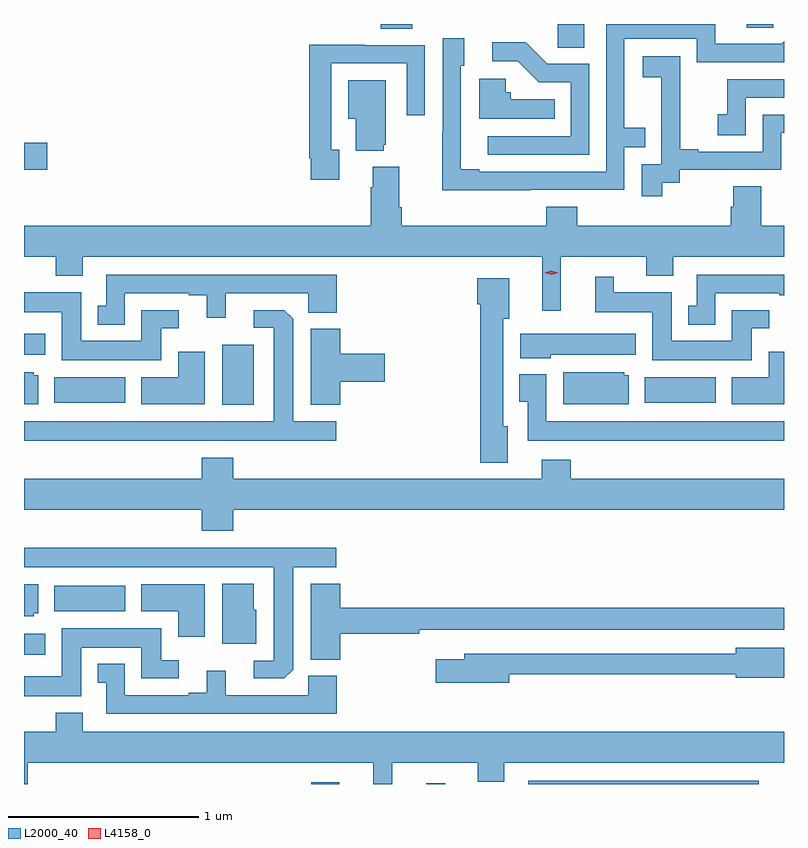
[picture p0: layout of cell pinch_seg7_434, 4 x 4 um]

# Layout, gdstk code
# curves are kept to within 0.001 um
import gdstk
lib = gdstk.Library(unit=1e-6, precision=1e-09)
def R(c, l, rs):  # rectangles x0, y0, x1, y1
    for r in rs: c.add(gdstk.rectangle(r[:2], r[2:], *l))
def P(c, l, *ps):  # polygons
    for p in ps: c.add(gdstk.Polygon(p, *l))
L2000_40 = (2000, 40)
L4158_0 = (4158, 0)

pinch_seg7_434 = lib.new_cell('pinch_seg7_434')
R(pinch_seg7_434, L2000_40, [(244.379,1049.789,244.525,1049.797), (244.985,1049.789,245.083,1049.794), (245.52,1049.789,246.734,1049.805), (242.867,1050.47,242.98,1050.58), (243.027,1050.698,243.4,1050.832), (243.911,1051.784,244.075,1052.101), (243.027,1051.796,243.4,1051.93), (246.135,1051.796,246.508,1051.93), (242.867,1052.048,242.98,1052.158), (242.867,1053.022,242.989,1053.164), (244.745,1053.763,244.91,1053.789), (246.671,1053.769,246.81,1053.789)])
P(pinch_seg7_434, L2000_40, [(245.531,1052.916),(246.027,1052.916),(246.027,1053.141),(246.137,1053.141),(246.137,1053.242),(246.027,1053.242),(246.027,1053.711),(246.408,1053.711),(246.408,1053.588),(246.867,1053.588),(246.867,1053.699),(246.852,1053.684),(246.505,1053.684),(246.505,1053.789),(245.931,1053.789),(245.931,1053.012),(245.263,1053.012),(245.263,1053.025),(245.166,1053.025),(245.166,1053.57),(245.185,1053.57),(245.185,1053.715),(245.07,1053.715),(245.07,1053.221),(245.068,1053.221),(245.068,1052.915)],
  [(245.815,1053.789),(245.663,1053.789),(245.663,1053.787),(245.676,1053.787),(245.676,1053.664),(245.815,1053.664)],
  [(245.841,1053.579),(245.622,1053.579),(245.509,1053.692),(245.331,1053.692),(245.331,1053.594),(245.465,1053.594),(245.576,1053.483),(245.745,1053.483),(245.745,1053.198),(245.307,1053.198),(245.307,1053.102),(245.841,1053.102)],
  [(244.525,1053.126),(244.485,1053.126),(244.485,1053.582),(244.881,1053.582),(244.881,1053.309),(244.977,1053.309),(244.977,1053.678),(244.661,1053.678),(244.661,1053.68),(244.369,1053.68),(244.369,1053.082),(244.377,1053.082),(244.377,1052.97),(244.525,1052.97)],
  [(246.226,1052.953),(246.318,1052.953),(246.318,1053.021),(246.852,1053.021),(246.852,1053.216),(246.867,1053.216),(246.867,1053.312),(246.756,1053.312),(246.756,1053.117),(246.415,1053.117),(246.415,1053.13),(246.32,1053.13),(246.32,1053.413),(246.321,1053.413),(246.321,1053.619),(246.123,1053.619),(246.123,1053.509),(246.221,1053.509),(246.221,1053.281),(246.222,1053.281),(246.222,1053.051),(246.117,1053.051),(246.117,1052.883),(246.226,1052.883)],
  [(245.66,1053.394),(245.43,1053.394),(245.43,1053.429),(245.403,1053.429),(245.403,1053.502),(245.264,1053.502),(245.264,1053.29),(245.66,1053.29)],
  [(246.666,1053.402),(246.867,1053.402),(246.867,1053.498),(246.568,1053.498),(246.568,1053.313),(246.519,1053.313),(246.519,1053.204),(246.666,1053.204)],
  [(244.76,1053.153),(244.771,1053.153),(244.771,1053.493),(244.574,1053.493),(244.574,1053.29),(244.613,1053.29),(244.613,1053.122),(244.76,1053.122)],
  [(245.693,1052.564),(246.143,1052.564),(246.143,1052.465),(246.283,1052.465),(246.283,1052.564),(246.867,1052.564),(246.867,1052.728),(246.747,1052.728),(246.747,1052.936),(246.599,1052.936),(246.599,1052.826),(246.587,1052.826),(246.587,1052.728),(245.78,1052.728),(245.78,1052.827),(245.615,1052.827),(245.615,1052.728),(244.856,1052.728),(244.856,1052.824),(244.843,1052.824),(244.843,1053.037),(244.703,1053.037),(244.703,1052.93),(244.691,1052.93),(244.691,1052.728),(242.867,1052.728),(242.867,1052.564),(243.035,1052.564),(243.035,1052.465),(243.175,1052.465),(243.175,1052.564),(245.594,1052.564),(245.594,1052.28),(245.693,1052.28)],
  [(243.396,1052.373),(243.734,1052.373),(243.734,1052.361),(243.83,1052.361),(243.83,1052.244),(243.928,1052.244),(243.928,1052.373),(244.362,1052.373),(244.362,1052.27),(244.514,1052.27),(244.514,1052.469),(243.3,1052.469),(243.3,1052.307),(243.254,1052.307),(243.254,1052.207),(243.396,1052.207)],
  [(246.504,1052.373),(246.842,1052.373),(246.842,1052.361),(246.867,1052.361),(246.867,1052.469),(246.408,1052.469),(246.408,1052.307),(246.362,1052.307),(246.362,1052.207),(246.504,1052.207)],
  [(246.697,1052.187),(246.79,1052.187),(246.79,1052.283),(246.593,1052.283),(246.593,1052.122),(246.277,1052.122),(246.277,1052.377),(245.971,1052.377),(245.971,1052.458),(245.873,1052.458),(245.873,1052.273),(246.173,1052.273),(246.173,1052.018),(246.697,1052.018)],
  [(245.413,1051.671),(245.389,1051.671),(245.389,1052.238),(245.422,1052.238),(245.422,1052.452),(245.252,1052.452),(245.252,1052.313),(245.267,1052.313),(245.267,1051.481),(245.413,1051.481)],
  [(243.589,1052.187),(243.682,1052.187),(243.682,1052.283),(243.485,1052.283),(243.485,1052.122),(243.169,1052.122),(243.169,1052.377),(242.867,1052.377),(242.867,1052.273),(243.065,1052.273),(243.065,1052.018),(243.589,1052.018)],
  [(244.51,1051.699),(244.285,1051.699),(244.284,1052.237),(244.238,1052.283),(244.077,1052.283),(244.077,1052.19),(244.181,1052.19),(244.181,1051.699),(242.867,1051.699),(242.867,1051.595),(244.51,1051.595)],
  [(244.532,1051.907),(244.765,1051.907),(244.765,1052.054),(244.532,1052.054),(244.532,1052.185),(244.376,1052.185),(244.376,1051.784),(244.532,1051.784)],
  [(245.64,1052.048),(246.088,1052.048),(246.088,1052.158),(245.478,1052.158),(245.478,1052.03),(245.64,1052.03)],
  [(246.867,1052.065),(246.788,1052.065),(246.788,1051.93),(246.593,1051.93),(246.593,1051.787),(246.867,1051.787)],
  [(243.817,1052.065),(243.68,1052.065),(243.68,1051.93),(243.485,1051.93),(243.485,1051.787),(243.817,1051.787)],
  [(242.941,1051.941),(242.919,1051.941),(242.919,1051.957),(242.867,1051.957),(242.867,1051.787),(242.941,1051.787)],
  [(246.049,1051.941),(246.027,1051.941),(246.027,1051.957),(245.705,1051.957),(245.705,1051.787),(246.049,1051.787)],
  [(246.867,1051.699),(245.616,1051.699),(245.616,1051.945),(245.474,1051.945),(245.474,1051.801),(245.519,1051.801),(245.519,1051.595),(246.867,1051.595)],
  [(243.968,1051.232),(246.867,1051.232),(246.867,1051.396),(245.744,1051.396),(245.744,1051.495),(245.591,1051.495),(245.591,1051.396),(243.968,1051.396),(243.968,1051.507),(243.803,1051.507),(243.803,1051.396),(242.867,1051.396),(242.867,1051.232),(243.803,1051.232),(243.803,1051.121),(243.968,1051.121)],
  [(244.284,1050.391),(244.285,1050.929),(244.51,1050.929),(244.51,1051.033),(242.867,1051.033),(242.867,1050.929),(244.181,1050.929),(244.181,1050.438),(244.077,1050.438),(244.077,1050.345),(244.238,1050.345)],
  [(244.09,1050.705),(244.075,1050.705),(244.075,1050.844),(243.911,1050.844),(243.911,1050.528),(244.09,1050.528)],
  [(244.532,1050.58),(244.946,1050.58),(244.946,1050.6),(246.867,1050.6),(246.867,1050.716),(244.532,1050.716),(244.532,1050.844),(244.376,1050.844),(244.376,1050.443),(244.532,1050.443)],
  [(242.919,1050.687),(242.941,1050.687),(242.941,1050.841),(242.867,1050.841),(242.867,1050.671),(242.919,1050.671)],
  [(243.817,1050.841),(243.485,1050.841),(243.485,1050.698),(243.68,1050.698),(243.68,1050.564),(243.817,1050.564)],
  [(243.169,1050.506),(243.485,1050.506),(243.485,1050.345),(243.682,1050.345),(243.682,1050.441),(243.589,1050.441),(243.589,1050.61),(243.065,1050.61),(243.065,1050.355),(242.867,1050.355),(242.867,1050.251),(243.169,1050.251)],
  [(245.422,1050.366),(246.614,1050.366),(246.614,1050.347),(246.867,1050.347),(246.867,1050.505),(246.614,1050.505),(246.614,1050.474),(245.183,1050.474),(245.183,1050.445),(245.034,1050.445),(245.034,1050.323),(245.422,1050.323)],
  [(244.514,1050.358),(244.362,1050.358),(244.362,1050.255),(243.928,1050.255),(243.928,1050.385),(243.83,1050.385),(243.83,1050.268),(243.734,1050.268),(243.734,1050.255),(243.396,1050.255),(243.396,1050.421),(243.254,1050.421),(243.254,1050.321),(243.3,1050.321),(243.3,1050.159),(244.514,1050.159)],
  [(242.888,1049.9),(244.706,1049.9),(244.706,1049.789),(244.805,1049.789),(244.805,1049.9),(245.255,1049.9),(245.255,1049.801),(245.395,1049.801),(245.395,1049.9),(246.867,1049.9),(246.867,1050.064),(243.175,1050.064),(243.175,1050.163),(243.035,1050.163),(243.035,1050.064),(242.867,1050.064),(242.867,1049.789),(242.888,1049.789)])
P(pinch_seg7_434, L4158_0, [(245.643,1052.47),(245.607,1052.48),(245.607,1052.48),(245.607,1052.48),(245.643,1052.49),(245.679,1052.48),(245.679,1052.48),(245.679,1052.48)])

lib.write_gds('pinch_seg7_434.gds')
